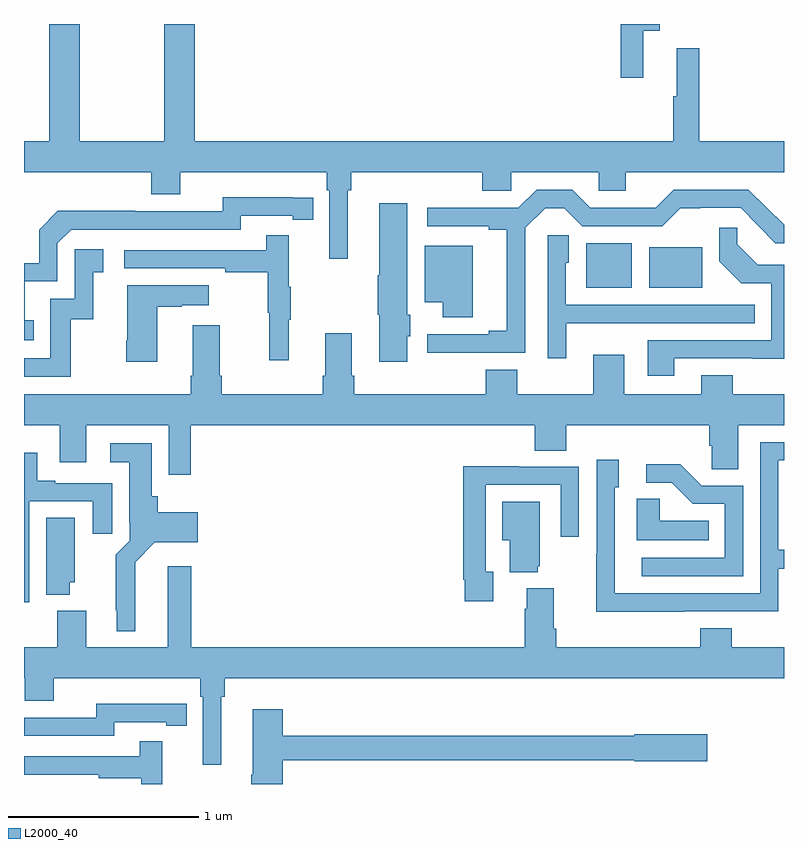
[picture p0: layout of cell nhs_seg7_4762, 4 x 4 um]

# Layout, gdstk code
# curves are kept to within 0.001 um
import gdstk
lib = gdstk.Library(unit=1e-6, precision=1e-09)
def R(c, l, rs):  # rectangles x0, y0, x1, y1
    for r in rs: c.add(gdstk.rectangle(r[:2], r[2:], *l))
def P(c, l, *ps):  # polygons
    for p in ps: c.add(gdstk.Polygon(p, *l))
L2000_40 = (2000, 40)

nhs_seg7_4762 = lib.new_cell('nhs_seg7_4762')
R(nhs_seg7_4762, L2000_40, [(411.959,1062.611,412.198,1062.847), (412.292,1062.611,412.57,1062.826)])
P(nhs_seg7_4762, L2000_40, [(412.259,1063.964),(412.345,1063.964),(412.345,1064),(412.141,1064),(412.141,1063.716),(412.259,1063.716)],
  [(409.67,1063.103),(409.822,1063.103),(409.822,1063.22),(410.594,1063.22),(410.594,1063.124),(410.607,1063.124),(410.607,1062.765),(410.704,1062.765),(410.704,1063.124),(410.723,1063.124),(410.723,1063.22),(411.413,1063.22),(411.413,1063.122),(411.564,1063.122),(411.564,1063.22),(412.026,1063.22),(412.026,1063.122),(412.168,1063.122),(412.168,1063.22),(413,1063.22),(413,1063.384),(412.553,1063.384),(412.553,1063.873),(412.436,1063.873),(412.436,1063.62),(412.417,1063.62),(412.417,1063.384),(409.898,1063.384),(409.898,1064),(409.738,1064),(409.738,1063.384),(409.293,1063.384),(409.293,1064),(409.133,1064),(409.133,1063.384),(409,1063.384),(409,1063.22),(409.67,1063.22)],
  [(411.335,1062.27),(411.639,1062.27),(411.639,1062.927),(411.743,1063.031),(411.844,1063.031),(411.939,1062.936),(412.359,1062.936),(412.454,1063.031),(412.773,1063.032),(412.863,1062.942),(412.861,1062.94),(412.955,1062.846),(413,1062.846),(413,1062.943),(412.813,1063.128),(412.419,1063.128),(412.325,1063.034),(412.22,1063.034),(412.22,1063.032),(411.981,1063.032),(411.885,1063.128),(411.698,1063.128),(411.602,1063.032),(411.369,1063.032),(411.369,1063.034),(411.123,1063.034),(411.123,1062.936),(411.446,1062.936),(411.446,1062.916),(411.542,1062.916),(411.542,1062.386),(411.446,1062.386),(411.446,1062.366),(411.123,1062.366),(411.123,1062.269)],
  [(409.052,1062.441),(409.003,1062.441),(409.003,1062.645),(409.176,1062.645),(409.176,1062.846),(409.248,1062.918),(410.142,1062.918),(410.142,1062.99),(410.414,1062.99),(410.414,1062.97),(410.522,1062.97),(410.522,1063.086),(410.046,1063.087),(410.046,1063.014),(409.586,1063.014),(409.586,1063.016),(409.178,1063.016),(409.08,1062.918),(409.08,1062.741),(409,1062.741),(409,1062.336),(409.052,1062.336)],
  [(411.016,1062.357),(411.034,1062.357),(411.034,1062.471),(411.016,1062.471),(411.016,1063.057),(410.87,1063.057),(410.87,1062.677),(410.863,1062.677),(410.863,1062.471),(410.87,1062.471),(410.87,1062.222),(411.016,1062.222)],
  [(412.423,1062.24),(413,1062.239),(413,1062.732),(412.862,1062.732),(412.754,1062.84),(412.754,1062.928),(412.659,1062.928),(412.659,1062.752),(412.775,1062.636),(412.932,1062.636),(412.932,1062.336),(412.283,1062.336),(412.283,1062.15),(412.423,1062.15)],
  [(410.393,1062.443),(410.404,1062.443),(410.404,1062.617),(410.393,1062.617),(410.393,1062.889),(410.275,1062.889),(410.275,1062.81),(409.527,1062.81),(409.527,1062.714),(410.059,1062.714),(410.059,1062.694),(410.283,1062.694),(410.283,1062.48),(410.29,1062.48),(410.29,1062.231),(410.393,1062.231)],
  [(411.853,1062.425),(412.187,1062.425),(412.187,1062.426),(412.847,1062.426),(412.847,1062.522),(411.852,1062.522),(411.852,1062.744),(411.868,1062.744),(411.868,1062.887),(411.756,1062.887),(411.756,1062.24),(411.853,1062.24)],
  [(411.361,1062.832),(411.11,1062.832),(411.11,1062.536),(411.203,1062.536),(411.203,1062.456),(411.361,1062.456)],
  [(409.246,1062.447),(409.364,1062.447),(409.364,1062.693),(409.417,1062.693),(409.417,1062.814),(409.266,1062.814),(409.266,1062.555),(409.137,1062.555),(409.137,1062.24),(409,1062.24),(409,1062.144),(409.246,1062.144)],
  [(409.702,1062.511),(409.829,1062.511),(409.829,1062.521),(409.972,1062.521),(409.972,1062.625),(409.544,1062.625),(409.544,1062.334),(409.537,1062.334),(409.537,1062.222),(409.702,1062.222)],
  [(409.877,1061.888),(411.689,1061.888),(411.689,1061.755),(411.854,1061.755),(411.854,1061.888),(412.607,1061.888),(412.607,1061.779),(412.62,1061.779),(412.62,1061.656),(412.759,1061.656),(412.759,1061.888),(413,1061.888),(413,1062.052),(412.729,1062.052),(412.729,1062.151),(412.565,1062.151),(412.565,1062.052),(412.159,1062.052),(412.159,1062.259),(411.995,1062.259),(411.995,1062.052),(411.595,1062.052),(411.595,1062.181),(411.431,1062.181),(411.431,1062.052),(410.738,1062.052),(410.738,1062.148),(410.725,1062.148),(410.725,1062.373),(410.585,1062.373),(410.585,1062.148),(410.573,1062.148),(410.573,1062.052),(410.042,1062.052),(410.042,1062.148),(410.029,1062.148),(410.029,1062.415),(409.889,1062.415),(409.889,1062.148),(409.877,1062.148),(409.877,1062.052),(409,1062.052),(409,1061.888),(409.187,1061.888),(409.187,1061.694),(409.327,1061.694),(409.327,1061.888),(409.761,1061.888),(409.761,1061.628),(409.877,1061.628)],
  [(412.475,1060.908),(412.971,1060.908),(412.971,1061.133),(413,1061.133),(413,1061.234),(412.971,1061.234),(412.971,1061.703),(413,1061.703),(413,1061.799),(412.875,1061.799),(412.875,1061.004),(412.11,1061.004),(412.11,1061.562),(412.129,1061.562),(412.129,1061.707),(412.014,1061.707),(412.014,1061.213),(412.012,1061.213),(412.012,1060.907),(412.475,1060.907)],
  [(409.585,1061.168),(409.686,1061.27),(409.686,1061.273),(409.915,1061.273),(409.915,1061.431),(409.703,1061.431),(409.703,1061.514),(409.672,1061.514),(409.672,1061.794),(409.455,1061.794),(409.455,1061.693),(409.553,1061.693),(409.553,1061.374),(409.557,1061.374),(409.557,1061.28),(409.483,1061.206),(409.483,1060.915),(409.487,1060.915),(409.487,1060.805),(409.585,1060.805)],
  [(409.027,1061.487),(409.361,1061.487),(409.361,1061.316),(409.465,1061.316),(409.465,1061.583),(409.165,1061.583),(409.165,1061.596),(409.069,1061.596),(409.069,1061.743),(409,1061.743),(409,1060.956),(409.027,1060.956)],
  [(412.785,1061.571),(412.566,1061.571),(412.453,1061.684),(412.275,1061.684),(412.275,1061.586),(412.409,1061.586),(412.52,1061.475),(412.689,1061.475),(412.689,1061.19),(412.251,1061.19),(412.251,1061.094),(412.785,1061.094)],
  [(411.469,1061.118),(411.429,1061.118),(411.429,1061.574),(411.825,1061.574),(411.825,1061.301),(411.921,1061.301),(411.921,1061.67),(411.605,1061.67),(411.605,1061.672),(411.313,1061.672),(411.313,1061.074),(411.321,1061.074),(411.321,1060.962),(411.469,1060.962)],
  [(412.604,1061.386),(412.347,1061.386),(412.347,1061.501),(412.226,1061.501),(412.226,1061.282),(412.604,1061.282)],
  [(411.704,1061.145),(411.715,1061.145),(411.715,1061.485),(411.518,1061.485),(411.518,1061.282),(411.557,1061.282),(411.557,1061.114),(411.704,1061.114)],
  [(409.24,1061.061),(409.267,1061.061),(409.267,1061.402),(409.118,1061.402),(409.118,1060.997),(409.24,1060.997)],
  [(410.038,1060.46),(410.057,1060.46),(410.057,1060.556),(413,1060.556),(413,1060.72),(412.724,1060.72),(412.724,1060.819),(412.559,1060.819),(412.559,1060.72),(411.8,1060.72),(411.8,1060.816),(411.787,1060.816),(411.787,1061.029),(411.647,1061.029),(411.647,1060.922),(411.635,1060.922),(411.635,1060.72),(409.88,1060.72),(409.88,1061.146),(409.757,1061.146),(409.757,1060.72),(409.327,1060.72),(409.327,1060.912),(409.175,1060.912),(409.175,1060.72),(409,1060.72),(409,1060.556),(409.004,1060.556),(409.004,1060.439),(409.156,1060.439),(409.156,1060.556),(409.928,1060.556),(409.928,1060.46),(409.941,1060.46),(409.941,1060.101),(410.038,1060.101)],
  [(409.476,1060.326),(409.748,1060.326),(409.748,1060.306),(409.856,1060.306),(409.856,1060.422),(409.748,1060.422),(409.748,1060.423),(409.38,1060.423),(409.38,1060.35),(409,1060.35),(409,1060.254),(409.476,1060.254)],
  [(410.363,1060.126),(412.212,1060.126),(412.212,1060.121),(412.597,1060.121),(412.597,1060.263),(412.212,1060.263),(412.212,1060.255),(410.363,1060.255),(410.363,1060.393),(410.204,1060.393),(410.204,1060.049),(410.197,1060.049),(410.197,1060),(410.363,1060)],
  [(409.727,1060.225),(409.609,1060.225),(409.609,1060.146),(409,1060.146),(409,1060.05),(409.393,1060.05),(409.393,1060.03),(409.617,1060.03),(409.617,1060),(409.727,1060)])

lib.write_gds('nhs_seg7_4762.gds')
